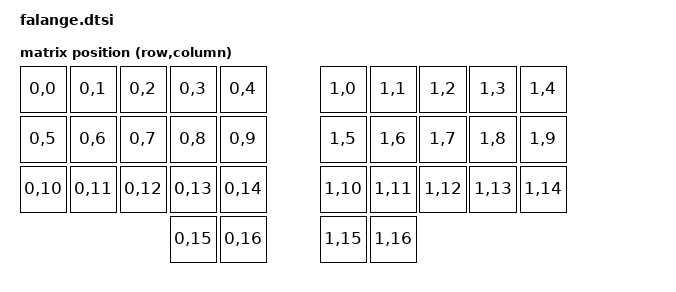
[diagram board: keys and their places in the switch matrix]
#include <dt-bindings/zmk/matrix_transform.h>

#include "falange-pinctrl.dtsi"

/ {
    chosen {
        zephyr,display = &oled;
        zmk,kscan = &kscan0;
        zmk,matrix_transform = &default_transform;
        zmk,battery = &vbatt;
    };

    vbatt: vbatt {
        compatible = "zmk,battery-nrf-vddh";
    };

    default_transform: keymap_transform_0 {
        compatible = "zmk,matrix-transform";
        columns = <17>;
        rows = <2>;
// | SW6  | SW5  | SW4  | SW3  | SW2  | SW1  |                 | SW1  | SW2  | SW3  | SW4  | SW5  | SW6  |
// | SW12 | SW11 | SW10 | SW9  | SW8  | SW7  |                 | SW7  | SW8  | SW9  | SW10 | SW11 | SW12 |
// | SW18 | SW17 | SW16 | SW15 | SW14 | SW13 |                 | SW13 | SW14 | SW15 | SW16 | SW17 | SW18 |
// | SW24 | SW23 | SW22 | SW21 | SW20 | SW19 | SW25 |   | SW25 | SW19 | SW20 | SW21 | SW22 | SW23 | SW24 |
//                      | SW29 | SW28 | SW27 | SW26 |   | SW26 | SW27 | SW28 | SW29 |
        map = <
RC(0,0)  RC(0,1)  RC(0,2)  RC(0,3)  RC(0,4)                    RC(1,0)  RC(1,1)  RC(1,2)  RC(1,3)  RC(1,4)
RC(0,5)  RC(0,6)  RC(0,7)  RC(0,8)  RC(0,9)                    RC(1,5)  RC(1,6)  RC(1,7)  RC(1,8)  RC(1,9)
RC(0,10) RC(0,11) RC(0,12) RC(0,13) RC(0,14)                   RC(1,10) RC(1,11) RC(1,12) RC(1,13) RC(1,14)
                                    RC(0,15) RC(0,16) RC(1,15) RC(1,16)
        >;
    };

    kscan0: kscan {
        compatible = "zmk,kscan-gpio-direct";
    };
};

pro_micro_i2c: &i2c0 {};
&i2c0 {
    status = "okay";
    compatible = "nordic,nrf-twi";
    pinctrl-0 = <&i2c0_default>;
    pinctrl-1 = <&i2c0_sleep>;
    pinctrl-names = "default", "sleep";

    oled: ssd1306@3c {
        compatible = "solomon,ssd1306fb";
        reg = <0x3c>;
        width = <128>;
        height = <32>;
        segment-offset = <0>;
        page-offset = <0>;
        display-offset = <0>;
        multiplex-ratio = <31>;
        segment-remap;
        com-invdir;
        com-sequential;
        inversion-on;
        prechargep = <0x22>;
    };
};
